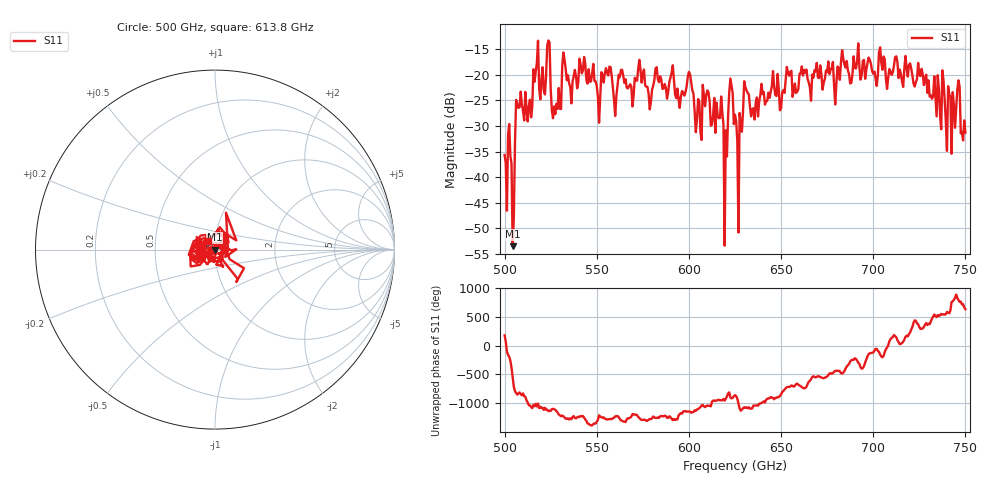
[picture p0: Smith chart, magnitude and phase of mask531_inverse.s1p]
!Created with skrf (http://scikit-rf.org).
# GHz S MA R 50.0
!freq magS11 angS11
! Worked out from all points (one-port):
!   401 points, 500 GHz to 750 GHz, reference 50 ohm
!   lowest |S11| = -53.5 dB at 504.4 GHz (marker M1), VSWR 1.00, Z = 49.8 + j0.021 ohm
!   |S11| at or under -10 dB: start of sweep to end of sweep
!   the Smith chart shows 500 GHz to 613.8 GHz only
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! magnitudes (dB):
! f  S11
! 500 GHz  -35.7
! 504.4 GHz  -53.5
! 507.5 GHz  -26.5
! 513.8 GHz  -24.9
! 516.9 GHz  -19.3
! 520.6 GHz  -18.5
! 523.8 GHz  -13.3
! 526.9 GHz  -26.2
! 531.2 GHz  -18.4
! 560 GHz  -28.1
! 562.5 GHz  -20.5
! 593.8 GHz  -22.7
! 600 GHz  -19.4
! 605.6 GHz  -25.2
! 608.8 GHz  -26.2
! 616.2 GHz  -28.5
! 620 GHz  -30.9
! 622.5 GHz  -20.7
! 625 GHz  -27.8
! 627.5 GHz  -27.5
! 631.2 GHz  -23.0
! 634.4 GHz  -26.7
! 656.2 GHz  -24.3
! 687.5 GHz  -21.7
! 718.8 GHz  -20.4
! 741.2 GHz  -23.9
! 746.2 GHz  -21.1
! 750 GHz  -31.3
